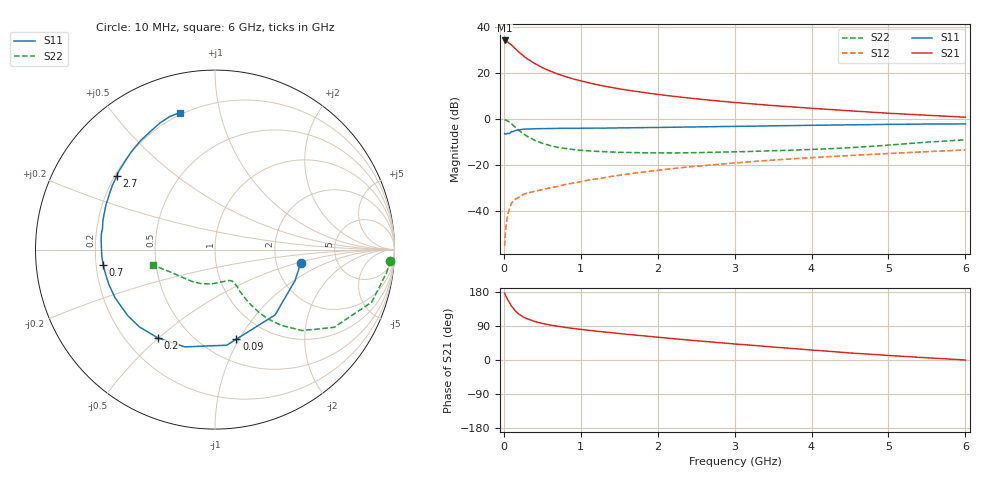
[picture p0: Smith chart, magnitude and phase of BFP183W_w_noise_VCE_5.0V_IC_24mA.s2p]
! Infineon Technologies  Discrete & RF Semiconductors
! BFP183W
! VCE =  5.0 V,  IC =  24 mA
! Common Emitter S-Parameters:  Jan 2017
# GHz  S  MA  R  50
!  f  S11  S21  S12  S22
! GHz  MAG  ANG  MAG  ANG  MAG  ANG  MAG  ANG
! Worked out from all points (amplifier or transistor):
!   77 points, 10 MHz to 6 GHz, reference 50 ohm
!   highest |S21| = 34.3 dB at 10 MHz (marker M1)
!   |S21| within 3 dB of that: start of sweep to 130.8 MHz
!   unconditionally stable (mu >= 1): 1.108 GHz to 3.453 GHz
!   at 130 MHz: K = 0.26, MSG = 33.4 dB, |S12| = -35.5 dB
!   at 2.2 GHz: K = 1.06, MAG = 14.3 dB, |S12| = -21.6 dB
!   at 6 GHz: K = 0.87, MSG = 7.1 dB, |S12| = -13.4 dB
!   lowest NFmin = 1.27 dB at 450 MHz
!   S11 on the Smith chart (normalised r, x): 10 MHz: 2.74, -0.55; 90 MHz: 0.72, -0.97; 200 MHz: 0.33, -0.50; 700 MHz: 0.23, -0.07; 2.7 GHz: 0.21, +0.32; 6 GHz: 0.19, +0.76
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0.01  0.4829 -9.1  52.03 176.1  0.0017 79.7  0.978 -3.6
0.02  0.4783 -21.1  51.1 171.1  0.0033 94.3  0.965 -7.6
0.05  0.4946 -47.4  48.34 158.9  0.0082 76.4  0.9211 -18.5
0.09  0.513 -76.6  42.4 145.6  0.0134 64.4  0.8139 -29.8
0.1  0.5366 -83.0  41.33 141.7  0.0148 62.8  0.7929 -33.1
0.15  0.5673 -107.2  34.35 129.4  0.018 53.2  0.6628 -42.9
0.2  0.5864 -123.0  28.64 120.3  0.02 50.4  0.5613 -48.8
0.25  0.6024 -134.4  24.33 113.6  0.0227 46.6  0.4836 -52.7
0.3  0.6098 -142.9  20.95 108.8  0.0244 46.5  0.4249 -55.1
0.4  0.6181 -154.2  16.38 101.5  0.0267 47.0  0.3465 -57.7
0.5  0.6226 -161.9  13.3 96.5  0.0291 48.2  0.298 -58.7
0.6  0.625 -167.7  11.23 92.4  0.0318 49.9  0.2661 -59.3
0.7  0.6288 -172.1  9.668 89.1  0.0342 52.1  0.2433 -59.1
0.9  0.6324 -179.6  7.56 83.3  0.0403 55.6  0.2182 -59.9
1.1  0.637 174.8  6.232 78.5  0.047 57.4  0.2043 -60.9
1.5  0.6455 165.2  4.588 69.9  0.0596 59.5  0.1898 -65.3
2.1  0.6628 153.2  3.313 58.3  0.0802 59.6  0.1837 -77.0
2.7  0.6846 143.0  2.576 47.6  0.1004 57.6  0.1892 -92.4
3.1  0.6988 136.9  2.244 40.9  0.1142 55.7  0.1956 -102.9
4.1  0.7382 123.0  1.684 24.8  0.1482 50.4  0.2218 -128.9
5.1  0.7721 112.4  1.319 10.8  0.1813 44.3  0.2798 -153.7
6  0.7885 104.5  1.103 -0.1  0.2127 38.2  0.3544 -166.4
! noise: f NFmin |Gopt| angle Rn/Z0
0.45  1.27  0.23  176  0.1
0.9  1.29  0.27  178  0.09
1.9  1.78  0.43  -159  0.09
2.4  2.01  0.47  -154  0.13
